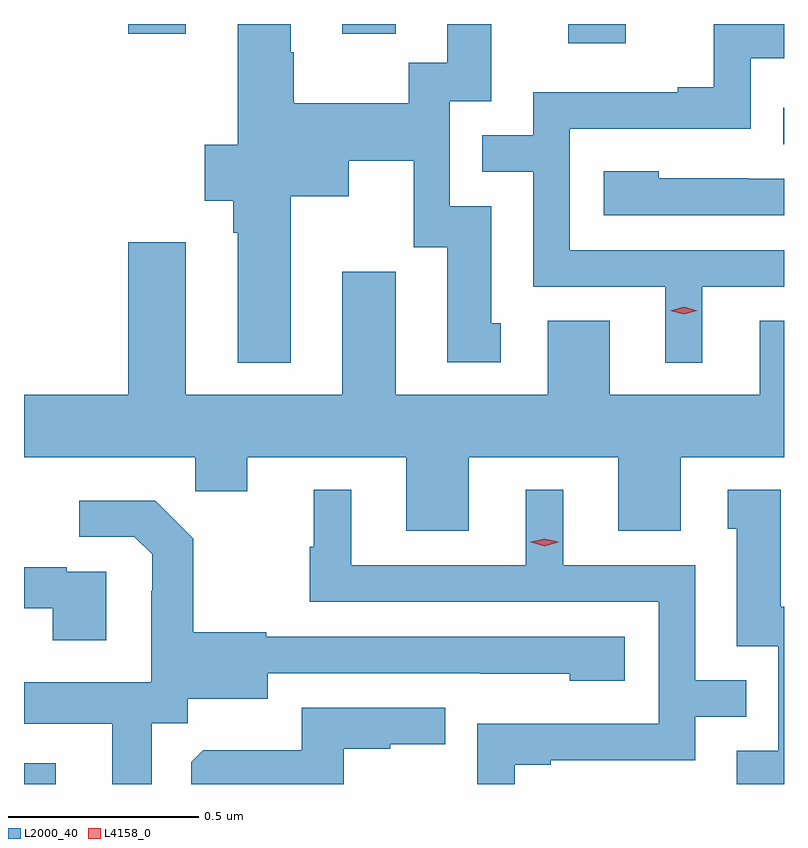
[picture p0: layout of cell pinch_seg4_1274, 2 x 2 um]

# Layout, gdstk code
import gdstk
lib = gdstk.Library(unit=1e-6, precision=1e-09)
def R(c, l, rs):  # rectangles x0, y0, x1, y1
    for r in rs: c.add(gdstk.rectangle(r[:2], r[2:], *l))
def P(c, l, *ps):  # polygons
    for p in ps: c.add(gdstk.Polygon(p, *l))
L2000_40 = (2000, 40)
L4158_0 = (4158, 0)

pinch_seg4_1274 = lib.new_cell('pinch_seg4_1274')
R(pinch_seg4_1274, L2000_40, [(143.113,817.272,143.197,817.327), (145.111,818.955,145.113,819.052), (144.545,819.222,144.697,819.272), (143.387,819.246,143.539,819.272), (143.951,819.246,144.091,819.272)])
P(pinch_seg4_1274, L2000_40, [(143.815,818.819),(143.968,818.819),(143.968,818.912),(144.138,818.912),(144.138,818.685),(144.227,818.685),(144.227,818.382),(144.367,818.382),(144.367,818.484),(144.343,818.484),(144.343,818.793),(144.234,818.793),(144.234,819.069),(144.343,819.069),(144.343,819.272),(144.227,819.272),(144.227,819.17),(144.126,819.17),(144.126,819.064),(143.823,819.064),(143.823,819.198),(143.815,819.198),(143.815,819.272),(143.675,819.272),(143.675,818.954),(143.588,818.954),(143.588,818.807),(143.663,818.807),(143.663,818.723),(143.675,818.723),(143.675,818.381),(143.815,818.381)],
  [(144.898,818.58),(145.113,818.58),(145.113,818.676),(144.549,818.676),(144.549,818.997),(145.026,818.997),(145.026,819.182),(145.113,819.182),(145.113,819.272),(144.928,819.272),(144.928,819.106),(144.833,819.106),(144.833,819.093),(144.453,819.093),(144.453,818.979),(144.319,818.979),(144.319,818.883),(144.453,818.883),(144.453,818.58),(144.8,818.58),(144.8,818.381),(144.898,818.381)],
  [(145.113,818.865),(145.019,818.865),(145.019,818.866),(144.783,818.866),(144.783,818.884),(144.639,818.884),(144.639,818.769),(145.113,818.769)],
  [(144.283,818.132),(144.677,818.132),(144.677,817.938),(144.841,817.938),(144.841,818.132),(145.113,818.132),(145.113,818.491),(145.049,818.491),(145.049,818.296),(144.655,818.296),(144.655,818.491),(144.491,818.491),(144.491,818.296),(144.091,818.296),(144.091,818.62),(143.951,818.62),(143.951,818.296),(143.539,818.296),(143.539,818.698),(143.387,818.698),(143.387,818.296),(143.113,818.296),(143.113,818.132),(143.563,818.132),(143.563,818.042),(143.701,818.042),(143.701,818.132),(144.119,818.132),(144.119,817.938),(144.283,817.938)],
  [(145.113,817.739),(145.105,817.739),(145.105,818.047),(144.965,818.047),(144.965,817.944),(144.989,817.944),(144.989,817.635),(145.098,817.635),(145.098,817.359),(144.989,817.359),(144.989,817.272),(145.113,817.272)],
  [(144.405,817.323),(144.499,817.323),(144.499,817.335),(144.879,817.335),(144.879,817.449),(145.013,817.449),(145.013,817.545),(144.879,817.545),(144.879,817.848),(144.532,817.848),(144.532,818.047),(144.434,818.047),(144.434,817.848),(143.974,817.848),(143.974,818.047),(143.876,818.047),(143.876,817.896),(143.865,817.896),(143.865,817.752),(144.783,817.752),(144.783,817.431),(144.306,817.431),(144.306,817.272),(144.405,817.272)],
  [(143.449,817.432),(143.544,817.432),(143.544,817.496),(143.755,817.496),(143.755,817.563),(144.313,817.563),(144.313,817.562),(144.549,817.562),(144.549,817.544),(144.694,817.544),(144.694,817.659),(143.751,817.659),(143.751,817.672),(143.559,817.672),(143.559,817.917),(143.459,818.017),(143.259,818.017),(143.259,817.923),(143.403,817.923),(143.45,817.876),(143.45,817.781),(143.448,817.781),(143.448,817.54),(143.113,817.54),(143.113,817.43),(143.345,817.43),(143.345,817.272),(143.449,817.272)],
  [(143.329,817.83),(143.225,817.83),(143.225,817.843),(143.113,817.843),(143.113,817.734),(143.189,817.734),(143.189,817.65),(143.329,817.65)],
  [(143.954,817.365),(144.077,817.365),(144.077,817.376),(144.221,817.376),(144.221,817.473),(143.844,817.473),(143.844,817.361),(143.585,817.361),(143.553,817.329),(143.553,817.272),(143.954,817.272)])
P(pinch_seg4_1274, L4158_0, [(144.849,818.508),(144.813,818.518),(144.813,818.518),(144.813,818.518),(144.849,818.528),(144.885,818.518),(144.885,818.518),(144.885,818.518)],
  [(144.483,817.898),(144.447,817.908),(144.447,817.908),(144.447,817.909),(144.483,817.918),(144.519,817.909),(144.519,817.908),(144.519,817.908)])

lib.write_gds('pinch_seg4_1274.gds')
